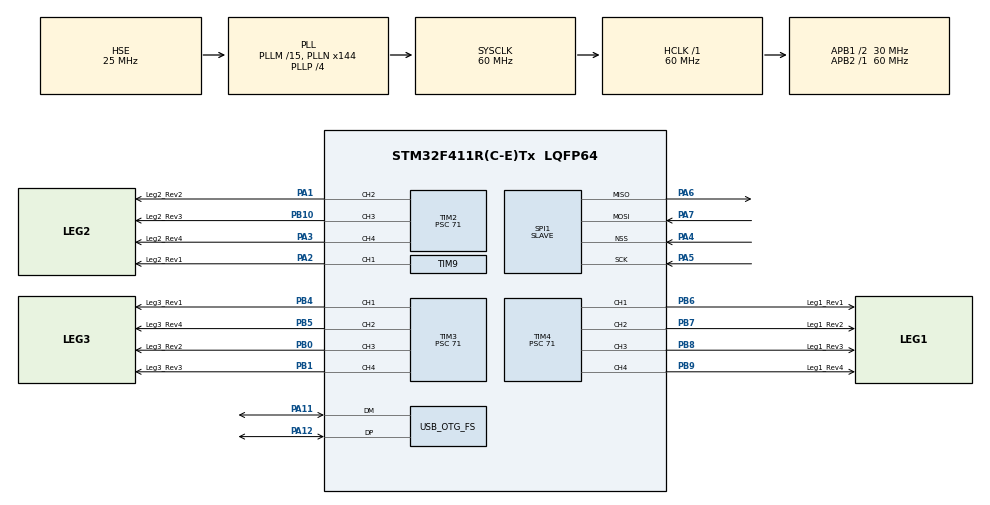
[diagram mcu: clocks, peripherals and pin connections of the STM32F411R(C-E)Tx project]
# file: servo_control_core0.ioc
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Dma.Request0=SPI1_RX
Dma.SPI1_RX.0.Direction=DMA_PERIPH_TO_MEMORY
Dma.SPI1_RX.0.FIFOMode=DMA_FIFOMODE_DISABLE
Dma.SPI1_RX.0.Instance=DMA2_Stream0
Dma.SPI1_RX.0.MemDataAlignment=DMA_MDATAALIGN_BYTE
Dma.SPI1_RX.0.MemInc=DMA_MINC_ENABLE
Dma.SPI1_RX.0.Mode=DMA_NORMAL
Dma.SPI1_RX.0.PeriphDataAlignment=DMA_PDATAALIGN_BYTE
Dma.SPI1_RX.0.PeriphInc=DMA_PINC_DISABLE
Dma.SPI1_RX.0.Priority=DMA_PRIORITY_LOW
Mcu.Family=STM32F4
Mcu.Name=STM32F411R(C-E)Tx
Mcu.Package=LQFP64
NVIC.DMA2_Stream0_IRQn=true\:0\:0\:false\:false\:true\:false\:true\:true
NVIC.OTG_FS_IRQn=true\:0\:0\:false\:false\:true\:false\:true\:true
NVIC.PriorityGroup=NVIC_PRIORITYGROUP_4
NVIC.TIM5_IRQn=true\:15\:0\:false\:false\:true\:false\:true\:true
NVIC.TimeBase=TIM5_IRQn
NVIC.TimeBaseIP=TIM5
PA1.GPIO_Label=Leg2_Rev2
PA1.Signal=S_TIM2_CH2
PA11.Mode=Device_Only
PA11.Signal=USB_OTG_FS_DM
PA12.Mode=Device_Only
PA12.Signal=USB_OTG_FS_DP
PA13.Mode=Serial_Wire
PA13.Signal=SYS_JTMS-SWDIO
PA14.Mode=Serial_Wire
PA14.Signal=SYS_JTCK-SWCLK
PA2.GPIO_Label=Leg2_Rev1
PA2.Signal=S_TIM9_CH1
PA3.GPIO_Label=Leg2_Rev4
PA3.Signal=S_TIM2_CH4
PA4.GPIO_PuPd=GPIO_PULLUP
PA4.Mode=NSS_Signal_Hard_Input
PA4.Signal=SPI1_NSS
PA5.Mode=Full_Duplex_Slave
PA5.Signal=SPI1_SCK
PA6.Mode=Full_Duplex_Slave
PA6.Signal=SPI1_MISO
PA7.Mode=Full_Duplex_Slave
PA7.Signal=SPI1_MOSI
PB0.GPIO_Label=Leg3_Rev2
PB0.Signal=S_TIM3_CH3
PB1.GPIO_Label=Leg3_Rev3
PB1.Signal=S_TIM3_CH4
PB10.GPIO_Label=Leg2_Rev3
PB10.Signal=S_TIM2_CH3
PB4.GPIO_Label=Leg3_Rev1
PB4.Signal=S_TIM3_CH1
PB5.GPIO_Label=Leg3_Rev4
PB5.Signal=S_TIM3_CH2
PB6.GPIO_Label=Leg1_Rev1
PB6.Signal=S_TIM4_CH1
PB7.GPIO_Label=Leg1_Rev2
PB7.Signal=S_TIM4_CH2
PB8.GPIO_Label=Leg1_Rev3
PB8.Signal=S_TIM4_CH3
PB9.GPIO_Label=Leg1_Rev4
PB9.Signal=S_TIM4_CH4
PC14-OSC32_IN.Mode=LSE-External-Oscillator
PC14-OSC32_IN.Signal=RCC_OSC32_IN
PC15-OSC32_OUT.Mode=LSE-External-Oscillator
PC15-OSC32_OUT.Signal=RCC_OSC32_OUT
PH0\ -\ OSC_IN.Mode=HSE-External-Oscillator
PH0\ -\ OSC_IN.Signal=RCC_OSC_IN
PH1\ -\ OSC_OUT.Mode=HSE-External-Oscillator
PH1\ -\ OSC_OUT.Signal=RCC_OSC_OUT
ProjectManager.HeapSize=0x200
ProjectManager.StackSize=0x400
ProjectManager.TargetToolchain=STM32CubeIDE
RCC.48MHZClocksFreq_Value=48000000
RCC.AHBFreq_Value=60000000
RCC.APB1CLKDivider=RCC_HCLK_DIV2
RCC.APB1Freq_Value=30000000
RCC.APB1TimFreq_Value=60000000
RCC.APB2Freq_Value=60000000
RCC.APB2TimFreq_Value=60000000
RCC.CSICalibrationValue=32
RCC.CortexFreq_Value=60000000
RCC.HCLKFreq_Value=60000000
RCC.HSE_VALUE=25000000
RCC.HSI_VALUE=16000000
RCC.PLL1_VCI_Range=RCC_PLL1VCIRANGE_1
RCC.PLL1_VCO_SEL=RCC_PLL1VCOWIDE
RCC.PLL2FRACN=0
RCC.PLL2_VCI_Range=RCC_PLL2VCIRANGE_3
RCC.PLL2_VCO_SEL=RCC_PLL2VCOWIDE
RCC.PLL3FRACN=0
RCC.PLL3_VCI_Range=RCC_PLL3VCIRANGE_1
RCC.PLL3_VCO_SEL=RCC_PLL3VCOWIDE
RCC.PLLFRACN=0
RCC.PLLM=15
RCC.PLLN=144
RCC.PLLP=RCC_PLLP_DIV4
RCC.PLLQ=5
RCC.ProductRev=revV
RCC.SYSCLKFreq_VALUE=60000000
RCC.SYSCLKSource=RCC_SYSCLKSOURCE_PLLCLK
RCC.VCOOutputFreq_Value=240000000
SH.S_TIM2_CH2.0=TIM2_CH2,Output Compare2 CH2
SH.S_TIM2_CH3.0=TIM2_CH3,PWM Generation3 CH3
SH.S_TIM2_CH4.0=TIM2_CH4,PWM Generation4 CH4
SH.S_TIM3_CH1.0=TIM3_CH1,PWM Generation1 CH1
SH.S_TIM3_CH2.0=TIM3_CH2,PWM Generation2 CH2
SH.S_TIM3_CH3.0=TIM3_CH3,PWM Generation3 CH3
SH.S_TIM3_CH4.0=TIM3_CH4,Output Compare4 CH4
SH.S_TIM4_CH1.0=TIM4_CH1,PWM Generation1 CH1
SH.S_TIM4_CH2.0=TIM4_CH2,PWM Generation2 CH2
SH.S_TIM4_CH3.0=TIM4_CH3,PWM Generation3 CH3
SH.S_TIM4_CH4.0=TIM4_CH4,PWM Generation4 CH4
SH.S_TIM9_CH1.0=TIM9_CH1,PWM Generation1 CH1
SPI1.Direction=SPI_DIRECTION_2LINES
SPI1.Mode=SPI_MODE_SLAVE
SPI1.VirtualNSS=VM_NSSHARD
SPI1.VirtualType=VM_SLAVE
TIM2.Channel-Output\ Compare2\ CH2=TIM_CHANNEL_2
TIM2.Channel-PWM\ Generation3\ CH3=TIM_CHANNEL_3
TIM2.Channel-PWM\ Generation4\ CH4=TIM_CHANNEL_4
TIM2.Prescaler=71
TIM3.Channel-Output\ Compare4\ CH4=TIM_CHANNEL_4
TIM3.Channel-PWM\ Generation1\ CH1=TIM_CHANNEL_1
TIM3.Channel-PWM\ Generation2\ CH2=TIM_CHANNEL_2
TIM3.Channel-PWM\ Generation3\ CH3=TIM_CHANNEL_3
TIM3.Prescaler=71
TIM4.Channel-PWM\ Generation1\ CH1=TIM_CHANNEL_1
TIM4.Channel-PWM\ Generation2\ CH2=TIM_CHANNEL_2
TIM4.Channel-PWM\ Generation3\ CH3=TIM_CHANNEL_3
TIM4.Channel-PWM\ Generation4\ CH4=TIM_CHANNEL_4
TIM4.Prescaler=71
TIM9.Channel-PWM\ Generation1\ CH1=TIM_CHANNEL_1
TIM9.Prescaler=71
USB_DEVICE.CLASS_NAME_FS=CDC
USB_DEVICE.VirtualMode=Cdc
USB_DEVICE.VirtualModeFS=Cdc_FS
USB_OTG_FS.VirtualMode=Device_Only
VP_SYS_VS_tim5.Mode=TIM5
VP_TIM2_VS_ClockSourceINT.Mode=Internal
VP_TIM3_VS_ClockSourceINT.Mode=Internal
VP_TIM4_VS_ClockSourceINT.Mode=Internal
VP_TIM9_VS_ClockSourceINT.Mode=Internal
VP_USB_DEVICE_VS_USB_DEVICE_CDC_FS.Mode=CDC_FS
board=custom

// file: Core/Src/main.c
/* USER CODE BEGIN Header */
/**
  ******************************************************************************
  * @file           : main.c
  * @brief          : Main program body
  ******************************************************************************
  * @attention
  *
  * Copyright (c) 2024 STMicroelectronics.
  * All rights reserved.
  *
  * This software is licensed under terms that can be found in the LICENSE file
  * in the root directory of this software component.
  * If no LICENSE file comes with this software, it is provided AS-IS.
  *
  ******************************************************************************
  */
/* USER CODE END Header */
#include "main.h"
#include "usb_device.h"

SPI_HandleTypeDef hspi1;
DMA_HandleTypeDef hdma_spi1_rx;

TIM_HandleTypeDef htim2;
TIM_HandleTypeDef htim3;
TIM_HandleTypeDef htim4;
TIM_HandleTypeDef htim9;

void SystemClock_Config(void);
static void MX_GPIO_Init(void);
static void MX_DMA_Init(void);
static void MX_SPI1_Init(void);
static void MX_TIM2_Init(void);
static void MX_TIM3_Init(void);
static void MX_TIM4_Init(void);
static void MX_TIM9_Init(void);
//static void setDutyCycle(TIM_HandleTypeDef*, uint32_t , float);

/* USER CODE BEGIN 0 */
float SERVO_PULSE_1 = 0;
float SERVO_PULSE_2 = 0;
uint8_t pData;

/* USER CODE END 0 */

//static void setDutyCycle(TIM_HandleTypeDef* const htim, uint32_t channel, float duty_cycle) {
//	if (duty_cycle > 100) duty_cycle = 100;
//	if (duty_cycle < 0) duty_cycle = 0;
//
//	float pw_resolution = (((float)(*htim).Init.Period + 1.0f) / 100.0f);
//
//	uint16_t pw_desired = pw_resolution * duty_cycle;
//	__HAL_TIM_SET_COMPARE(htim, channel, pw_desired);
//}

int main(void)
{

  /* MCU Configuration--------------------------------------------------------*/

  /* Reset of all peripherals, Initializes the Flash interface and the Systick. */
  HAL_Init();

  /* Configure the system clock */
  SystemClock_Config();

  /* Initialize all configured peripherals */
  MX_GPIO_Init();
  MX_DMA_Init();
  MX_SPI1_Init();
  MX_TIM2_Init();
  MX_TIM3_Init();
  MX_TIM4_Init();
  MX_TIM9_Init();
  MX_USB_DEVICE_Init();
  /* USER CODE BEGIN 2 */
  HAL_TIM_PWM_Start(&htim9, TIM_CHANNEL_1);
  /* USER CODE END 2 */

  /* Infinite loop */
  /* USER CODE BEGIN WHILE */
  uint8_t temp;
  while (1)
   {
	  // spi
	  HAL_SPI_Receive(&hspi1, &pData, sizeof(pData), HAL_MAX_DELAY);

	  // usb debugging
	  if(pData == 180) //180
	  {
		  CDC_Transmit_FS("180\n\r", 5);
	  }
	  else if(pData == 90) //90
	  {
		  CDC_Transmit_FS("90\n\r", 4);
	  }
	  else if(pData == 45) //45
	  {
		  CDC_Transmit_FS("45\n\r", 4);
	  }
	  else if(pData == 0) //0
	  {
		  CDC_Transmit_FS("0\n\r", 3);
	  }
	  else
	  {
		  CDC_Transmit_FS("Err\n\r", 5);
	  }

	  //servo control
	  if (pData == 180 || pData == 90 || pData == 45 || pData == 0){
		  SERVO_PULSE_1 = pData * 2000/270 + 500;
		  __HAL_TIM_SET_COMPARE(&htim9, TIM_CHANNEL_1, SERVO_PULSE_1);
	  }
   }

  /* USER CODE END WHILE */

}

void SystemClock_Config(void)
{
  RCC_OscInitTypeDef RCC_OscInitStruct = {0};
  RCC_ClkInitTypeDef RCC_ClkInitStruct = {0};

  /** Configure the main internal regulator output voltage
  */
  __HAL_RCC_PWR_CLK_ENABLE();
  __HAL_PWR_VOLTAGESCALING_CONFIG(PWR_REGULATOR_VOLTAGE_SCALE1);

  /** Initializes the RCC Oscillators according to the specified parameters
  * in the RCC_OscInitTypeDef structure.
  */
  RCC_OscInitStruct.OscillatorType = RCC_OSCILLATORTYPE_HSE;
  RCC_OscInitStruct.HSEState = RCC_HSE_ON;
  RCC_OscInitStruct.PLL.PLLState = RCC_PLL_ON;
  RCC_OscInitStruct.PLL.PLLSource = RCC_PLLSOURCE_HSE;
  RCC_OscInitStruct.PLL.PLLM = 15;
  RCC_OscInitStruct.PLL.PLLN = 144;
  RCC_OscInitStruct.PLL.PLLP = RCC_PLLP_DIV4;
  RCC_OscInitStruct.PLL.PLLQ = 5;
  if (HAL_RCC_OscConfig(&RCC_OscInitStruct) != HAL_OK)
  {
    Error_Handler();
  }

  /** Initializes the CPU, AHB and APB buses clocks
  */
  RCC_ClkInitStruct.ClockType = RCC_CLOCKTYPE_HCLK|RCC_CLOCKTYPE_SYSCLK
                              |RCC_CLOCKTYPE_PCLK1|RCC_CLOCKTYPE_PCLK2;
  RCC_ClkInitStruct.SYSCLKSource = RCC_SYSCLKSOURCE_PLLCLK;
  RCC_ClkInitStruct.AHBCLKDivider = RCC_SYSCLK_DIV1;
  RCC_ClkInitStruct.APB1CLKDivider = RCC_HCLK_DIV2;
  RCC_ClkInitStruct.APB2CLKDivider = RCC_HCLK_DIV1;

  if (HAL_RCC_ClockConfig(&RCC_ClkInitStruct, FLASH_LATENCY_1) != HAL_OK)
  {
    Error_Handler();
  }
}

static void MX_SPI1_Init(void)
{

	hspi1.Init.BaudRatePrescaler = SPI_BAUDRATEPRESCALER_128;
  /* SPI1 parameter configuration*/
  hspi1.Instance = SPI1;
  hspi1.Init.Mode = SPI_MODE_SLAVE;
  hspi1.Init.Direction = SPI_DIRECTION_2LINES;
  hspi1.Init.DataSize = SPI_DATASIZE_8BIT;
  hspi1.Init.CLKPolarity = SPI_POLARITY_HIGH;
  hspi1.Init.CLKPhase = SPI_PHASE_2EDGE;
  hspi1.Init.NSS = SPI_NSS_HARD_INPUT;
  hspi1.Init.FirstBit = SPI_FIRSTBIT_MSB;
  hspi1.Init.TIMode = SPI_TIMODE_DISABLE;
  hspi1.Init.CRCCalculation = SPI_CRCCALCULATION_DISABLE;
  hspi1.Init.CRCPolynomial = 10;
  if (HAL_SPI_Init(&hspi1) != HAL_OK)
  {
    Error_Handler();
  }

}

static void MX_TIM2_Init(void)
{

  TIM_ClockConfigTypeDef sClockSourceConfig = {0};
  TIM_MasterConfigTypeDef sMasterConfig = {0};
  TIM_OC_InitTypeDef sConfigOC = {0};

  htim2.Instance = TIM2;
  htim2.Init.Prescaler = 71;
  htim2.Init.CounterMode = TIM_COUNTERMODE_UP;
  htim2.Init.Period = 4294967295;
  htim2.Init.ClockDivision = TIM_CLOCKDIVISION_DIV1;
  htim2.Init.AutoReloadPreload = TIM_AUTORELOAD_PRELOAD_DISABLE;
  if (HAL_TIM_Base_Init(&htim2) != HAL_OK)
  {
    Error_Handler();
  }
  sClockSourceConfig.ClockSource = TIM_CLOCKSOURCE_INTERNAL;
  if (HAL_TIM_ConfigClockSource(&htim2, &sClockSourceConfig) != HAL_OK)
  {
    Error_Handler();
  }
  if (HAL_TIM_OC_Init(&htim2) != HAL_OK)
  {
    Error_Handler();
  }
  if (HAL_TIM_PWM_Init(&htim2) != HAL_OK)
  {
    Error_Handler();
  }
  sMasterConfig.MasterOutputTrigger = TIM_TRGO_RESET;
  sMasterConfig.MasterSlaveMode = TIM_MASTERSLAVEMODE_DISABLE;
  if (HAL_TIMEx_MasterConfigSynchronization(&htim2, &sMasterConfig) != HAL_OK)
  {
    Error_Handler();
  }
  sConfigOC.OCMode = TIM_OCMODE_TIMING;
  sConfigOC.Pulse = 0;
  sConfigOC.OCPolarity = TIM_OCPOLARITY_HIGH;
  sConfigOC.OCFastMode = TIM_OCFAST_DISABLE;
  if (HAL_TIM_OC_ConfigChannel(&htim2, &sConfigOC, TIM_CHANNEL_2) != HAL_OK)
  {
    Error_Handler();
  }
  sConfigOC.OCMode = TIM_OCMODE_PWM1;
  if (HAL_TIM_PWM_ConfigChannel(&htim2, &sConfigOC, TIM_CHANNEL_3) != HAL_OK)
  {
    Error_Handler();
  }
  if (HAL_TIM_PWM_ConfigChannel(&htim2, &sConfigOC, TIM_CHANNEL_4) != HAL_OK)
  {
    Error_Handler();
  }
  HAL_TIM_MspPostInit(&htim2);

}

static void MX_TIM3_Init(void)
{

  TIM_ClockConfigTypeDef sClockSourceConfig = {0};
  TIM_MasterConfigTypeDef sMasterConfig = {0};
  TIM_OC_InitTypeDef sConfigOC = {0};

  htim3.Instance = TIM3;
  htim3.Init.Prescaler = 71;
  htim3.Init.CounterMode = TIM_COUNTERMODE_UP;
  htim3.Init.Period = 65535;
  htim3.Init.ClockDivision = TIM_CLOCKDIVISION_DIV1;
  htim3.Init.AutoReloadPreload = TIM_AUTORELOAD_PRELOAD_DISABLE;
  if (HAL_TIM_Base_Init(&htim3) != HAL_OK)
  {
    Error_Handler();
  }
  sClockSourceConfig.ClockSource = TIM_CLOCKSOURCE_INTERNAL;
  if (HAL_TIM_ConfigClockSource(&htim3, &sClockSourceConfig) != HAL_OK)
  {
    Error_Handler();
  }
  if (HAL_TIM_PWM_Init(&htim3) != HAL_OK)
  {
    Error_Handler();
  }
  if (HAL_TIM_OC_Init(&htim3) != HAL_OK)
  {
    Error_Handler();
  }
  sMasterConfig.MasterOutputTrigger = TIM_TRGO_RESET;
  sMasterConfig.MasterSlaveMode = TIM_MASTERSLAVEMODE_DISABLE;
  if (HAL_TIMEx_MasterConfigSynchronization(&htim3, &sMasterConfig) != HAL_OK)
  {
    Error_Handler();
  }
  sConfigOC.OCMode = TIM_OCMODE_PWM1;
  sConfigOC.Pulse = 0;
  sConfigOC.OCPolarity = TIM_OCPOLARITY_HIGH;
  sConfigOC.OCFastMode = TIM_OCFAST_DISABLE;
  if (HAL_TIM_PWM_ConfigChannel(&htim3, &sConfigOC, TIM_CHANNEL_1) != HAL_OK)
  {
    Error_Handler();
  }
  if (HAL_TIM_PWM_ConfigChannel(&htim3, &sConfigOC, TIM_CHANNEL_2) != HAL_OK)
  {
    Error_Handler();
  }
  if (HAL_TIM_PWM_ConfigChannel(&htim3, &sConfigOC, TIM_CHANNEL_3) != HAL_OK)
  {
    Error_Handler();
  }
  sConfigOC.OCMode = TIM_OCMODE_TIMING;
  if (HAL_TIM_OC_ConfigChannel(&htim3, &sConfigOC, TIM_CHANNEL_4) != HAL_OK)
  {
    Error_Handler();
  }
  HAL_TIM_MspPostInit(&htim3);

}

static void MX_TIM4_Init(void)
{

  TIM_ClockConfigTypeDef sClockSourceConfig = {0};
  TIM_MasterConfigTypeDef sMasterConfig = {0};
  TIM_OC_InitTypeDef sConfigOC = {0};

  htim4.Instance = TIM4;
  htim4.Init.Prescaler = 71;
  htim4.Init.CounterMode = TIM_COUNTERMODE_UP;
  htim4.Init.Period = 19999;
  htim4.Init.ClockDivision = TIM_CLOCKDIVISION_DIV1;
  htim4.Init.AutoReloadPreload = TIM_AUTORELOAD_PRELOAD_DISABLE;
  if (HAL_TIM_Base_Init(&htim4) != HAL_OK)
  {
    Error_Handler();
  }
  sClockSourceConfig.ClockSource = TIM_CLOCKSOURCE_INTERNAL;
  if (HAL_TIM_ConfigClockSource(&htim4, &sClockSourceConfig) != HAL_OK)
  {
    Error_Handler();
  }
  if (HAL_TIM_PWM_Init(&htim4) != HAL_OK)
  {
    Error_Handler();
  }
  sMasterConfig.MasterOutputTrigger = TIM_TRGO_RESET;
  sMasterConfig.MasterSlaveMode = TIM_MASTERSLAVEMODE_DISABLE;
  if (HAL_TIMEx_MasterConfigSynchronization(&htim4, &sMasterConfig) != HAL_OK)
  {
    Error_Handler();
  }
  sConfigOC.OCMode = TIM_OCMODE_PWM1;
  sConfigOC.Pulse = 0;
  sConfigOC.OCPolarity = TIM_OCPOLARITY_HIGH;
  sConfigOC.OCFastMode = TIM_OCFAST_DISABLE;
  if (HAL_TIM_PWM_ConfigChannel(&htim4, &sConfigOC, TIM_CHANNEL_1) != HAL_OK)
  {
    Error_Handler();
  }
  if (HAL_TIM_PWM_ConfigChannel(&htim4, &sConfigOC, TIM_CHANNEL_2) != HAL_OK)
  {
    Error_Handler();
  }
  if (HAL_TIM_PWM_ConfigChannel(&htim4, &sConfigOC, TIM_CHANNEL_3) != HAL_OK)
  {
    Error_Handler();
  }
  if (HAL_TIM_PWM_ConfigChannel(&htim4, &sConfigOC, TIM_CHANNEL_4) != HAL_OK)
  {
    Error_Handler();
  }
  HAL_TIM_MspPostInit(&htim4);

}

static void MX_TIM9_Init(void)
{

  TIM_ClockConfigTypeDef sClockSourceConfig = {0};
  TIM_OC_InitTypeDef sConfigOC = {0};

  htim9.Instance = TIM9;
  htim9.Init.Prescaler = 59;
  htim9.Init.CounterMode = TIM_COUNTERMODE_UP;
  htim9.Init.Period = 9999;
  htim9.Init.ClockDivision = TIM_CLOCKDIVISION_DIV1;
  htim9.Init.AutoReloadPreload = TIM_AUTORELOAD_PRELOAD_DISABLE;
  if (HAL_TIM_Base_Init(&htim9) != HAL_OK)
  {
    Error_Handler();
  }
  sClockSourceConfig.ClockSource = TIM_CLOCKSOURCE_INTERNAL;
  if (HAL_TIM_ConfigClockSource(&htim9, &sClockSourceConfig) != HAL_OK)
  {
    Error_Handler();
  }
  if (HAL_TIM_PWM_Init(&htim9) != HAL_OK)
  {
    Error_Handler();
  }
  sConfigOC.OCMode = TIM_OCMODE_PWM1;
  sConfigOC.Pulse = 0;
  sConfigOC.OCPolarity = TIM_OCPOLARITY_HIGH;
  sConfigOC.OCFastMode = TIM_OCFAST_DISABLE;
  if (HAL_TIM_PWM_ConfigChannel(&htim9, &sConfigOC, TIM_CHANNEL_1) != HAL_OK)
  {
    Error_Handler();
  }
  HAL_TIM_MspPostInit(&htim9);

}

static void MX_DMA_Init(void)
{

  /* DMA controller clock enable */
  __HAL_RCC_DMA2_CLK_ENABLE();

  /* DMA interrupt init */
  /* DMA2_Stream0_IRQn interrupt configuration */
  HAL_NVIC_SetPriority(DMA2_Stream0_IRQn, 0, 0);
  HAL_NVIC_EnableIRQ(DMA2_Stream0_IRQn);

}

static void MX_GPIO_Init(void)
{

  /* GPIO Ports Clock Enable */
  __HAL_RCC_GPIOC_CLK_ENABLE();
  __HAL_RCC_GPIOH_CLK_ENABLE();
  __HAL_RCC_GPIOA_CLK_ENABLE();
  __HAL_RCC_GPIOB_CLK_ENABLE();

}

void HAL_TIM_PeriodElapsedCallback(TIM_HandleTypeDef *htim)
{
  if (htim->Instance == TIM5) {
    HAL_IncTick();
  }
}

void Error_Handler(void)
{
  __disable_irq();
  while (1)
  {
  }
}
